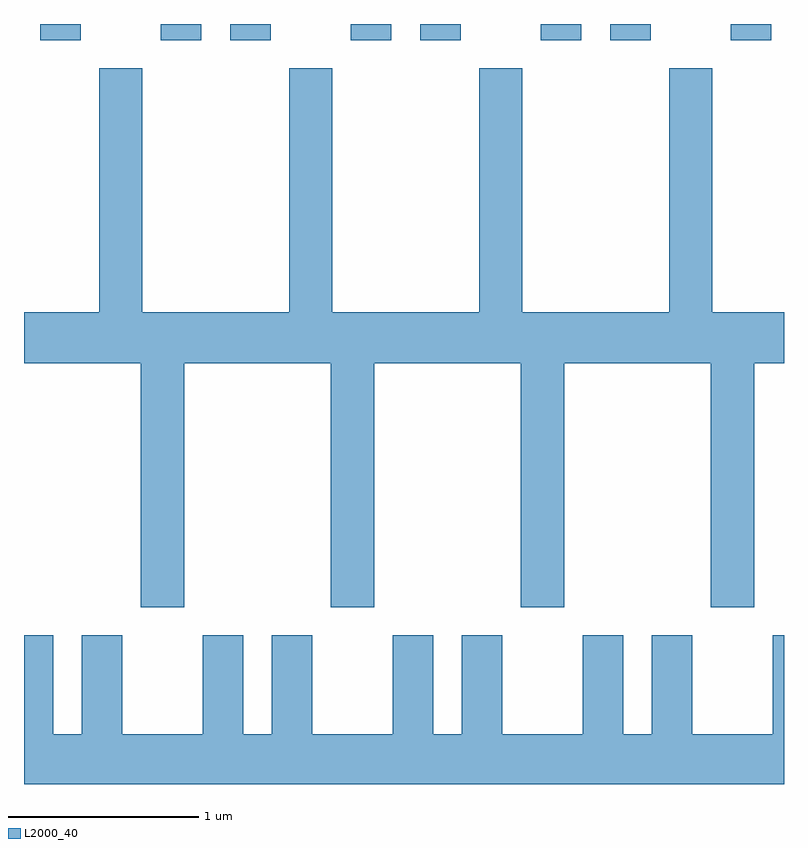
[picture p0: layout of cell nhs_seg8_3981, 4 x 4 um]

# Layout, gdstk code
import gdstk
lib = gdstk.Library(unit=1e-6, precision=1e-09)
def R(c, l, rs):  # rectangles x0, y0, x1, y1
    for r in rs: c.add(gdstk.rectangle(r[:2], r[2:], *l))
def P(c, l, *ps):  # polygons
    for p in ps: c.add(gdstk.Polygon(p, *l))
L2000_40 = (2000, 40)

nhs_seg8_3981 = lib.new_cell('nhs_seg8_3981')
R(nhs_seg8_3981, L2000_40, [(303.696,1920.256,303.909,1920.342), (304.331,1920.256,304.544,1920.342), (304.696,1920.256,304.909,1920.342), (305.331,1920.256,305.544,1920.342), (305.696,1920.256,305.909,1920.342), (306.331,1920.256,306.544,1920.342), (306.696,1920.256,306.909,1920.342), (307.331,1920.256,307.544,1920.342)])
P(nhs_seg8_3981, L2000_40, [(304.454,1918.556),(305.226,1918.556),(305.226,1917.271),(305.454,1917.271),(305.454,1918.556),(306.226,1918.556),(306.226,1917.271),(306.454,1917.271),(306.454,1918.556),(307.226,1918.556),(307.226,1917.271),(307.454,1917.271),(307.454,1918.556),(307.611,1918.556),(307.611,1918.824),(307.234,1918.824),(307.234,1920.109),(307.006,1920.109),(307.006,1918.824),(306.234,1918.824),(306.234,1920.109),(306.006,1920.109),(306.006,1918.824),(305.234,1918.824),(305.234,1920.109),(305.006,1920.109),(305.006,1918.824),(304.234,1918.824),(304.234,1920.109),(304.006,1920.109),(304.006,1918.824),(303.611,1918.824),(303.611,1918.556),(304.226,1918.556),(304.226,1917.271),(304.454,1917.271)],
  [(307.611,1917.124),(307.551,1917.124),(307.551,1916.604),(307.129,1916.604),(307.129,1917.124),(306.916,1917.124),(306.916,1916.604),(306.764,1916.604),(306.764,1917.124),(306.551,1917.124),(306.551,1916.604),(306.129,1916.604),(306.129,1917.124),(305.916,1917.124),(305.916,1916.604),(305.764,1916.604),(305.764,1917.124),(305.551,1917.124),(305.551,1916.604),(305.129,1916.604),(305.129,1917.124),(304.916,1917.124),(304.916,1916.604),(304.764,1916.604),(304.764,1917.124),(304.551,1917.124),(304.551,1916.604),(304.129,1916.604),(304.129,1917.124),(303.916,1917.124),(303.916,1916.604),(303.764,1916.604),(303.764,1917.124),(303.611,1917.124),(303.611,1916.342),(307.611,1916.342)])

lib.write_gds('nhs_seg8_3981.gds')
